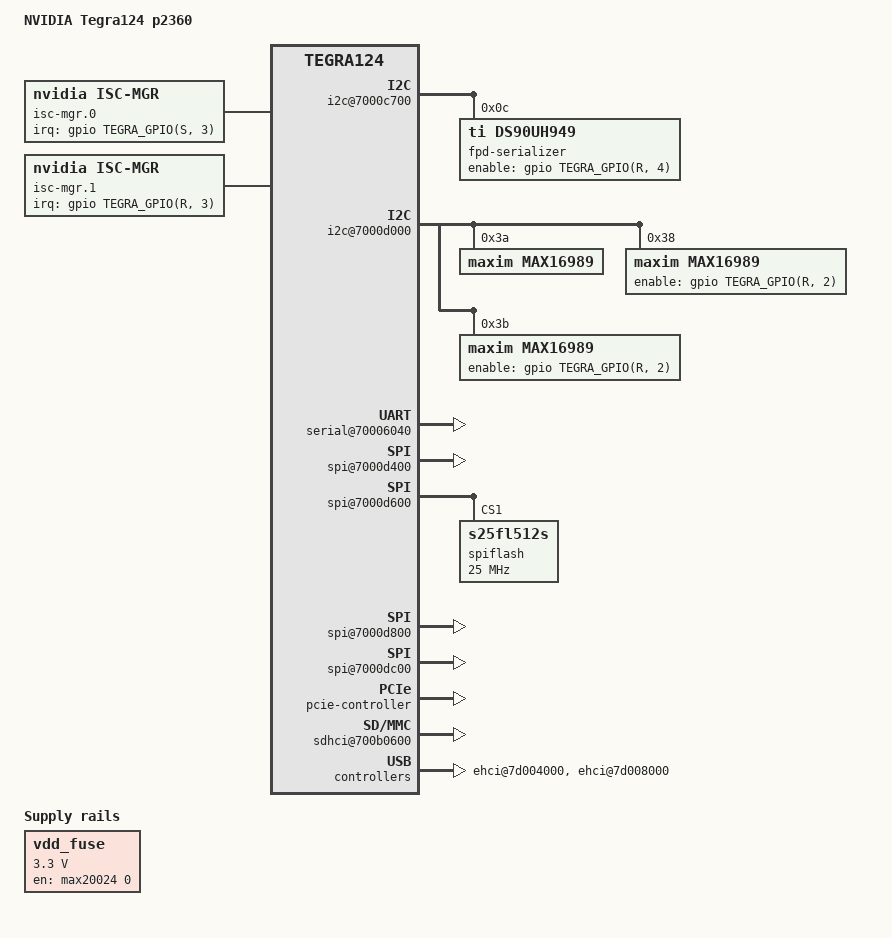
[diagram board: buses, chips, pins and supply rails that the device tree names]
/*
 * arch/arm/boot/dts/tegra124-p2360.dts
 *
 * Copyright (c) 2014-2015, NVIDIA CORPORATION.  All rights reserved.
 *
 * This program is free software; you can redistribute it and/or modify
 * it under the terms of the GNU General Public License as published by
 * the Free Software Foundation; version 2 of the License.
 *
 * This program is distributed in the hope that it will be useful, but WITHOUT
 * ANY WARRANTY; without even the implied warranty of MERCHANTABILITY or
 * FITNESS FOR A PARTICULAR PURPOSE.  See the GNU General Public License for
 * more details.
 *
 * You should have received a copy of the GNU General Public License along
 * with this program; if not, write to the Free Software Foundation, Inc.,
 * 51 Franklin Street, Fifth Floor, Boston, MA  02110-1301, USA.
 *
 */

#include "tegra124-vcm30_t124.dtsi"
#include <tegra124-platforms/tegra124-vcm30-t124-hdmi.dtsi>
#include <panel-a-lvds-800-480-14-0.dtsi>
#include <dt-bindings/display/tegra-panel.h>
#include <tegra124-platforms/tegra124-pmic-vcm30t124-max20024.dtsi>

/ {
	model = "NVIDIA Tegra124 p2360";
	compatible = "nvidia,p2360", "nvidia,tegra124";
	nvidia,dtsfilename = __FILE__;
	#address-cells = <2>;
	#size-cells = <2>;

	host1x {
		sor {
			status = "okay";
			panel-lvds-800-480 {
				status = "okay";
				disp-default-out {
					nvidia,out-max-pixclk = <3367>;
				};
			};
		};
		/* tegradc.0 */
		dc@54200000 {
			nvidia,dc-flags = <TEGRA_DC_FLAG_ENABLED>;
			nvidia,emc-clk-rate = <300000000>;
			nvidia,fb-bpp = <32>; /* bits per pixel */
			status = "okay";
		};
		/* tegradc.1 */
		dc@54240000 {
			nvidia,emc-clk-rate = <300000000>;
			nvidia,fb-bpp = <32>; /* bits per pixel */
			status = "okay";
		};
		hdmi {
			nvidia,hpd-gpio = <&gpio 0xFFFFFFFF 1>; /* hotplug less HDMI */
			hdmi-display {
				nvidia,edid = [00 FF FF FF FF FF FF 00 04 21 00 00 00 00 00 00
						01 00 01 03 00 00 00 00 00 00 00 00 00 00 00 00
						00 00 00 00 00 00 01 01 01 01 01 01 01 01 01 01
						01 01 01 01 01 01 FE 0C 20 00 31 E0 2D 10 40 40
						43 00 00 00 00 00 00 00 00 00 00 10 00 00 00 00
						00 00 00 00 00 00 00 00 00 00 00 00 00 10 00 00
						00 00 00 00 00 00 00 00 00 00 00 00 00 00 00 10
						00 00 00 00 00 00 00 00 00 00 00 00 00 00 00 61];
				nvidia,hdmi-fpd-bridge = <TEGRA_HDMI_ENABLE>;
			};
		};
		csi {
			prod-settings {
				prod_ab {
						/* address   mask       value */
					prod = <0x5408092C 0xF7FCF778 0x00011110 /* pad-a */
						0x54080960 0xFFFFFFFF 0x00000004 /* pad-b */>;
				};
			};
		};
	};

	i2c@7000c700 {
		fpd-serializer@0c {
			compatible = "ti,ds90uh949";
			reg = <0x0c>;
			ti,enable-gpio = <&gpio TEGRA_GPIO(R, 4) 0>; /*PR4*/
			ti,power-on-delay = <4>;
			ti,power-off-delay = <3>;
		};
	};

	i2c@7000d000 {
		status = "okay";

		max16989@3a {
			compatible = "maxim,max16989";
			reg = <0x3a>;
			regulator-name = "max16989-vdd-cpu";
			regulator-min-microvolt = <500000>;
			regulator-max-microvolt = <1500000>;
			consumers {
				c1 {
					regulator-consumer-supply = "vdd_cpu";
				};
			};
		};

		max16989@38 {
			compatible = "maxim,max16989";
			reg = <0x38>;
			regulator-name = "max16989-vdd-gpu";
			regulator-min-microvolt = <500000>;
			regulator-max-microvolt = <1500000>;
			maxim,enable-gpio = <&gpio TEGRA_GPIO(R, 2) 0>;
			regulator-enable-ramp-delay = <210>;
			consumers {
				c1 {
					regulator-consumer-supply = "vdd_gpu";
				};
			};
		};

		max16989@3b {
			compatible = "maxim,max16989";
			reg = <0x3b>;
			regulator-name = "max16989-vdd-gpu";
			regulator-min-microvolt = <500000>;
			regulator-max-microvolt = <1500000>;
			enable-gpio = <&gpio TEGRA_GPIO(R, 2) 0>;
			regulator-enable-ramp-delay = <210>;
			consumers {
				c1 {
					regulator-consumer-supply = "vdd_gpu";
				};
			};
		};
	};


	serial@70006040 {
		compatible = "nvidia,tegra20-uart";
		console-port;
		status = "okay";
	};

	spi@7000d400 {
		status = "okay";
		compatible = "nvidia,tegra124-spi-slave";
		nvidia,clk-pin = "gpio_x5_aud_px5";
		nvidia,slave-ready-gpio = <&gpio TEGRA_GPIO(K, 4) GPIO_ACTIVE_HIGH>; /*PK4*/
		nvidia,rx-trigger-words = <0>;
	};

	spi@7000d600 {
		status = "okay";
		nvidia,maximum-dma-buffer-size = <65536>;

		spi@1 {
			status = "disabled";
		};

		spiflash@1 {
			compatible = "s25fl512s";
			reg = <1>;
			spi-max-frequency = <25000000>;
		};
	};

	spi@7000d800 {
		status = "okay";
		compatible = "nvidia,tegra124-spi-slave";
		nvidia,clk-pin = "ulpi_data2_po3";
		nvidia,rx-trigger-words = <0>;
	};

	spi@7000dc00 {
		status = "okay";
		compatible = "nvidia,tegra124-spi-slave";
		nvidia,clk-pin = "ulpi_nxt_py2";
		nvidia,slave-ready-gpio = <&gpio TEGRA_GPIO(I, 3) GPIO_ACTIVE_HIGH>; /*PI3*/
		nvidia,rx-trigger-words = <0>;
	};

	pcie-controller {
		status = "okay";
		nvidia,boot-detect-delay = <3500>;

		pci@1,0 {
			status = "okay";
		};

		pci@2,0 {
			status = "okay";
		};
		prod-settings {
			prod_c_pad {
				prod = <
					0x000000C8 0x00000000 0x34ac44ac	// PADS_REFCLK_CFG0
				>;
			};
			prod_c_rp {
				prod = <
					/*Keeping 0x00000FD8 from tegra124-prods.dtsi to avoid overwriting*/
					0x00000FD8 0x0FFFF0FF 0x30000D00	// RP_ECTL_1_R2_0	31:28,11:8=TX_DRV_CNTL_1C,TX_CMADJ_1C	0x3,0xD
					0x00000FD4 0x0FFFFF0F 0x10000020	// PCIE2_RP_ECTL_1_R1_1
				>;
			};
		};
	};

	sdhci@700b0600 {
		disable-clock-gate;
		status = "okay";
	};

	snor {
		status = "okay";
	};

	ehci@7d000000 {
		nvidia,is-intf-utmi;
		status = "disabled";
	};

	ehci@7d004000 {
		nvidia,is-intf-utmi;
		status = "okay";
	};

	ehci@7d008000 {
		nvidia,is-intf-utmi;
		status = "okay";
	};

	smmu: iommu {
		#asids = <120>;
	};

	cpu_dfll_pmic_integration {
		pmic-i2c-address = <0x74>;
		pmic-i2c-voltage-register = <0x07>;
		i2c-fs-rate = <400000>;
		sel-conversion-slope = <1>;
	};

	isc-mgr.0 {
		compatible = "nvidia,isc-mgr";
		i2c-bus = <2>;
		csi-port = <0>;
		interrupt-parent = <&gpio>;
		interrupts = <TEGRA_GPIO(S, 3) 2>; /* gpio PS3 : falling edge sensitive */
		/* runtime-pwrctrl-off; */
		status = "okay";
	};

	isc-mgr.1 {
		compatible = "nvidia,isc-mgr";
		i2c-bus = <0>;
		csi-port = <2>;
		/* default-power-on; */
		interrupt-parent = <&gpio>;
		interrupts = <TEGRA_GPIO(R, 3) 2>; /* gpio PR3 : falling edge sensitive */
		status = "okay";
	};

	isc-mgr.2 {
		compatible = "nvidia,isc-mgr";
		i2c-bus = <0>;
		csi-port = <4>;
		/* default-power-on; */
		status = "okay";
	};

	regulators {
		compatible = "simple-bus";
		device_type = "fixed-regulators";
		#address-cells = <1>;
		#size-cells = <0>;

		vdd_fuse: regulator@1 {
			compatible = "regulator-fixed-sync";
			regulator-name = "vdd_fuse";
			regulator-min-microvolt = <3300000>;
			regulator-max-microvolt = <3300000>;
			gpio = <&max20024 0 0>;
			enable-active-high;
		};
	};

	/* Populate fuse supply */
	efuse@7000f800 {
		vpp_fuse-supply = <&vdd_fuse>;
	};

	udc@7d000000 {
		prod-settings {
			#prod-cells = <3>;
			phy_prod {
				prod = <
					0x00000808 0x01C0003F 0x06002A0B	// USB1_UTMIP_XCVR_CFG0_0
				>;
			};
		};

	};

};
